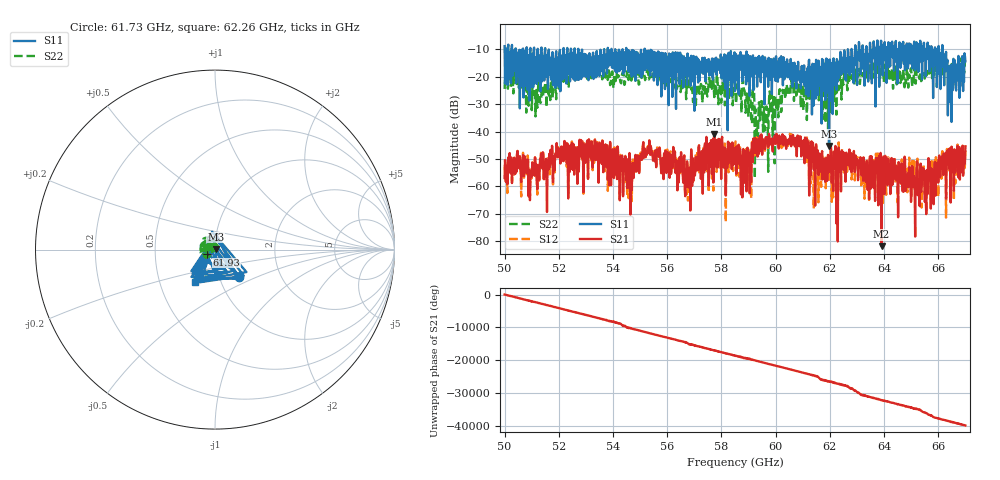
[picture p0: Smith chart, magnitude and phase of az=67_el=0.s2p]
!Created with skrf (http://scikit-rf.org).
# GHz S RI R 50.0
!freq ReS11 ImS11 ReS21 ImS21 ReS12 ImS12 ReS22 ImS22
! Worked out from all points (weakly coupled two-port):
!   1001 points, 50 GHz to 67 GHz, reference 50 ohm
!   highest |S21| = -40.82 dB at 57.73 GHz (marker M1); lowest = -81.8 dB at 63.91 GHz (marker M2)
!   lowest |S11| = -45.2 dB at 61.97 GHz (marker M3), VSWR 1.01, Z = 50.4 + j0.39 ohm
!   |S11| at or under -10 dB: 52.72 GHz to 53.67 GHz (951.4 MHz wide, 1.79 % of centre); 55.17 GHz to 62.66 GHz (7.496 GHz wide, 12.7 % of centre); 66.16 GHz to end of sweep (the widest 3 of 64)
!   |S22| runs from -57.1 to -13.2 dB; largest |S21 - S12| = 0.0025
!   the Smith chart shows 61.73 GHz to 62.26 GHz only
!   S11 on the Smith chart (normalised r, x): 61.73 GHz: 1.25, -0.39; 61.93 GHz: 0.91, -0.05; 62.26 GHz: 0.76, -0.28
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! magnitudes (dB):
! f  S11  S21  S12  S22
! 50 GHz  -8.8  -56.9  -54.0  -24.4
! 51.14 GHz  -12.9  -51.2  -50.5  -34.5
! 52.84 GHz  -13.0  -47.8  -48.1  -19.6
! 54.61 GHz  -16.5  -47.8  -48.6  -18.7
! 55.68 GHz  -13.8  -48.1  -49.2  -21.7
! 56.77 GHz  -15.2  -60.3  -65.1  -19.5
! 57.73 GHz  -16.0  -40.8  -40.7  -27.4
! 58.5 GHz  -25.2  -51.2  -49.1  -23.6
! 58.81 GHz  -14.1  -46.3  -49.3  -22.3
! 59.32 GHz  -23.6  -46.6  -45.7  -36.9
! 60.34 GHz  -14.6  -42.1  -44.0  -25.4
! 61.34 GHz  -33.7  -51.0  -50.6  -26.6
! 61.73 GHz  -13.8  -57.4  -56.6  -35.5
! 61.93 GHz  -25.6  -48.5  -50.3  -39.8
! 61.97 GHz  -45.2  -54.9  -57.6  -23.1
! 62.26 GHz  -13.6  -48.8  -46.8  -25.2
! 63.91 GHz  -10.8  -81.8  -61.9  -17.9
! 64.18 GHz  -12.1  -56.5  -54.9  -17.6
! 65.23 GHz  -9.5  -51.5  -49.9  -18.1
! 66.22 GHz  -23.1  -50.1  -53.9  -14.4
! 66.44 GHz  -29.4  -47.0  -46.6  -16.3
! 67 GHz  -14.3  -45.4  -45.4  -14.5
